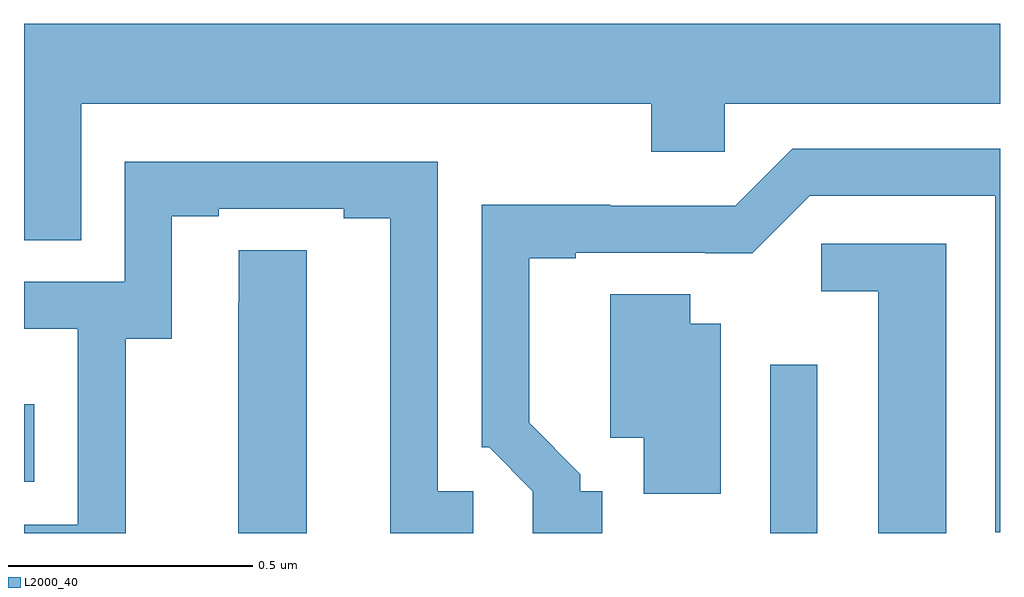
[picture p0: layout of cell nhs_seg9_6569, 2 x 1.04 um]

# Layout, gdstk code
import gdstk
lib = gdstk.Library(unit=1e-6, precision=1e-09)
def R(c, l, rs):  # rectangles x0, y0, x1, y1
    for r in rs: c.add(gdstk.rectangle(r[:2], r[2:], *l))
def P(c, l, *ps):  # polygons
    for p in ps: c.add(gdstk.Polygon(p, *l))
L2000_40 = (2000, 40)

nhs_seg9_6569 = lib.new_cell('nhs_seg9_6569')
R(nhs_seg9_6569, L2000_40, [(194.529,1235.5,194.625,1235.845), (193,1235.606,193.021,1235.764)])
P(nhs_seg9_6569, L2000_40, [(193.117,1236.38),(194.285,1236.38),(194.285,1236.282),(194.436,1236.282),(194.436,1236.38),(195,1236.38),(195,1236.544),(193,1236.544),(193,1236.1),(193.117,1236.1)],
  [(194.185,1235.586),(194.14,1235.586),(194.14,1235.621),(194.035,1235.726),(194.035,1236.063),(194.131,1236.063),(194.131,1236.075),(194.396,1236.075),(194.396,1236.074),(194.492,1236.074),(194.61,1236.192),(194.99,1236.192),(194.99,1235.502),(195,1235.502),(195,1236.288),(194.574,1236.288),(194.457,1236.171),(194.201,1236.171),(194.201,1236.173),(193.938,1236.173),(193.938,1235.676),(193.953,1235.676),(194.043,1235.586),(194.043,1235.5),(194.185,1235.5)],
  [(193.209,1235.899),(193.303,1235.899),(193.303,1236.15),(193.399,1236.15),(193.399,1236.165),(193.655,1236.165),(193.655,1236.145),(193.751,1236.145),(193.751,1235.5),(193.921,1235.5),(193.921,1235.586),(193.848,1235.586),(193.848,1236.261),(193.206,1236.261),(193.206,1236.015),(193,1236.015),(193,1235.919),(193.109,1235.919),(193.109,1235.918),(193.11,1235.918),(193.11,1235.517),(193,1235.517),(193,1235.5),(193.209,1235.5)],
  [(194.89,1236.093),(194.634,1236.093),(194.634,1235.996),(194.75,1235.996),(194.75,1235.593),(194.751,1235.593),(194.751,1235.5),(194.89,1235.5)],
  [(193.579,1236.08),(193.44,1236.08),(193.44,1235.972),(193.439,1235.972),(193.439,1235.5),(193.579,1235.5)],
  [(194.428,1235.929),(194.365,1235.929),(194.365,1235.99),(194.201,1235.99),(194.201,1235.696),(194.27,1235.696),(194.27,1235.581),(194.428,1235.581)])

lib.write_gds('nhs_seg9_6569.gds')
